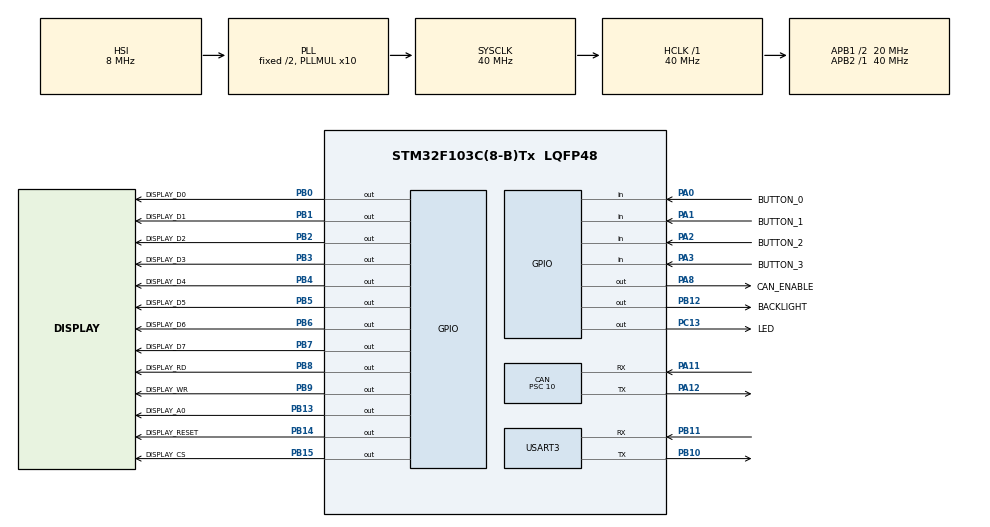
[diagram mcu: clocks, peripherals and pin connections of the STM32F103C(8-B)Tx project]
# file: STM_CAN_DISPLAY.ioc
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CAN.BS1=CAN_BS1_13TQ
CAN.BS2=CAN_BS2_2TQ
CAN.CalculateBaudRate=125000
CAN.CalculateTimeBit=8000
CAN.CalculateTimeQuantum=500.0
CAN.Mode=CAN_MODE_NORMAL
CAN.Prescaler=10
Dma.Request0=USART3_TX
Dma.USART3_TX.0.Direction=DMA_MEMORY_TO_PERIPH
Dma.USART3_TX.0.Instance=DMA1_Channel2
Dma.USART3_TX.0.MemDataAlignment=DMA_MDATAALIGN_BYTE
Dma.USART3_TX.0.MemInc=DMA_MINC_ENABLE
Dma.USART3_TX.0.Mode=DMA_NORMAL
Dma.USART3_TX.0.PeriphDataAlignment=DMA_PDATAALIGN_BYTE
Dma.USART3_TX.0.PeriphInc=DMA_PINC_DISABLE
Dma.USART3_TX.0.Priority=DMA_PRIORITY_LOW
Mcu.Family=STM32F1
Mcu.Name=STM32F103C(8-B)Tx
Mcu.Package=LQFP48
NVIC.CAN1_RX1_IRQn=true\:0\:0\:false\:false\:true\:true\:true\:true
NVIC.DMA1_Channel2_IRQn=true\:0\:0\:false\:false\:true\:false\:true\:true
NVIC.PriorityGroup=NVIC_PRIORITYGROUP_4
NVIC.TIM1_UP_IRQn=true\:0\:0\:false\:false\:true\:true\:true\:true
NVIC.TIM2_IRQn=true\:0\:0\:false\:false\:true\:true\:true\:true
NVIC.USART3_IRQn=true\:0\:0\:false\:false\:true\:true\:true\:true
NVIC.USB_HP_CAN1_TX_IRQn=true\:0\:0\:false\:false\:true\:true\:true\:true
NVIC.USB_LP_CAN1_RX0_IRQn=true\:0\:0\:false\:false\:true\:true\:true\:true
PA0-WKUP.GPIO_Label=BUTTON_0
PA0-WKUP.Signal=GPIO_Input
PA1.GPIO_Label=BUTTON_1
PA1.Signal=GPIO_Input
PA11.Mode=CAN_Activate
PA11.Signal=CAN_RX
PA12.Mode=CAN_Activate
PA12.Signal=CAN_TX
PA13.Mode=Serial_Wire
PA13.Signal=SYS_JTMS-SWDIO
PA14.Mode=Serial_Wire
PA14.Signal=SYS_JTCK-SWCLK
PA2.GPIO_Label=BUTTON_2
PA2.Signal=GPIO_Input
PA3.GPIO_Label=BUTTON_3
PA3.Signal=GPIO_Input
PA8.GPIO_Label=CAN_ENABLE
PA8.Signal=GPIO_Output
PB0.GPIO_Label=DISPLAY_D0
PB0.Signal=GPIO_Output
PB1.GPIO_Label=DISPLAY_D1
PB1.Signal=GPIO_Output
PB10.Mode=Asynchronous
PB10.Signal=USART3_TX
PB11.Mode=Asynchronous
PB11.Signal=USART3_RX
PB12.GPIO_Label=BACKLIGHT
PB12.Signal=GPIO_Output
PB13.GPIO_Label=DISPLAY_A0
PB13.Signal=GPIO_Output
PB14.GPIO_Label=DISPLAY_RESET
PB14.Signal=GPIO_Output
PB15.GPIO_Label=DISPLAY_CS
PB15.Signal=GPIO_Output
PB2.GPIO_Label=DISPLAY_D2
PB2.Signal=GPIO_Output
PB3.GPIO_Label=DISPLAY_D3
PB3.Signal=GPIO_Output
PB4.GPIO_Label=DISPLAY_D4
PB4.Signal=GPIO_Output
PB5.GPIO_Label=DISPLAY_D5
PB5.Signal=GPIO_Output
PB6.GPIO_Label=DISPLAY_D6
PB6.Signal=GPIO_Output
PB7.GPIO_Label=DISPLAY_D7
PB7.Signal=GPIO_Output
PB8.GPIO_Label=DISPLAY_RD
PB8.Signal=GPIO_Output
PB9.GPIO_Label=DISPLAY_WR
PB9.Signal=GPIO_Output
PC13-TAMPER-RTC.GPIO_Label=LED
PC13-TAMPER-RTC.GPIO_ModeDefaultOutputPP=GPIO_MODE_OUTPUT_PP
PC13-TAMPER-RTC.Signal=GPIO_Output
ProjectManager.HeapSize=0x200
ProjectManager.StackSize=0x1000
ProjectManager.TargetToolchain=Makefile
RCC.AHBFreq_Value=40000000
RCC.APB1CLKDivider=RCC_HCLK_DIV2
RCC.APB1Freq_Value=20000000
RCC.APB1TimFreq_Value=40000000
RCC.APB2Freq_Value=40000000
RCC.APB2TimFreq_Value=40000000
RCC.HCLKFreq_Value=40000000
RCC.PLLMUL=RCC_PLL_MUL10
RCC.SYSCLKFreq_VALUE=40000000
RCC.SYSCLKSource=RCC_SYSCLKSOURCE_PLLCLK
RCC.USBFreq_Value=40000000
TIM1.Period=1000
TIM1.Prescaler=40
TIM2.AutoReloadPreload=TIM_AUTORELOAD_PRELOAD_DISABLE
TIM2.Period=10
TIM2.Prescaler=40
USART3.VirtualMode=VM_ASYNC
VP_TIM1_VS_ClockSourceINT.Mode=Internal
VP_TIM2_VS_ClockSourceINT.Mode=Internal
board=custom

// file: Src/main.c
/* USER CODE BEGIN Header */
/**
  ******************************************************************************
  * @file           : main.c
  * @brief          : Main program body
  ******************************************************************************
  * @attention
  *
  * <h2><center>&copy; Copyright (c) 2019 STMicroelectronics.
  * All rights reserved.</center></h2>
  *
  * This software component is licensed by ST under BSD 3-Clause license,
  * the "License"; You may not use this file except in compliance with the
  * License. You may obtain a copy of the License at:
  *                        opensource.org/licenses/BSD-3-Clause
  *
  ******************************************************************************
  */
/* USER CODE END Header */
#include "main.h"

/* USER CODE BEGIN Includes */
#include <string.h>
#include "u8g2.h"
#include <stdio.h>

#include "display_prints.h"

/* USER CODE END Includes */

/* USER CODE BEGIN PD */

//#define BOILER_TEMP_CAN_ID 0x0d0
#define BOILER_TEMP_CAN_ID 0x0d0
//#define RELAY_CONTROL_CAN_ID 0x080
#define RELAY_CONTROL_CAN_ID 0x090
// #define RELAY_STATUS_CAN_ID 0x081
// #define RELAY_STATUS_CAN_ID 0x091
#define PUMP_STATUS_CAN_ID 0x091

/* USER CODE END PD */

CAN_HandleTypeDef hcan;

TIM_HandleTypeDef htim1;
TIM_HandleTypeDef htim2;

UART_HandleTypeDef huart3;
DMA_HandleTypeDef hdma_usart3_tx;

/* USER CODE BEGIN PV */
static u8g2_t u8g2;

volatile uint32_t testCounter = 0;
volatile uint32_t test_counter = 0;

#define BUTTON_DEBOUNCE_TIME 50
volatile uint16_t button_counter = 0;
volatile uint8_t button_status = 0;
volatile uint8_t global_button_status = 0;

struct display_screen1_data screen1_data;
struct display_screen1_error_message screen1_error_holder;

int32_t temperature;
uint32_t pressure;
uint32_t humidity;

volatile float input_packet_boiler_temperature = -127;
volatile uint8_t input_packet_boiler_temperature_err = 0;
volatile uint8_t input_packet_pump_status = 0xff;

volatile uint16_t input_packet_boiler_timeout = 0;

volatile uint8_t temperature1timeout = 0;
volatile uint8_t temperature2timeout = 0;
volatile uint8_t humidity1timeout = 0;
volatile uint8_t humidity2timeout = 0;

#define DATA_WAIT_TIMEOUT 3000

CAN_FilterTypeDef sFilterConfig;
CAN_TxHeaderTypeDef TxHeader;
CAN_RxHeaderTypeDef RxHeader;
uint8_t TxData[8];
uint8_t RxData[8];
uint32_t TxMailbox;

volatile uint16_t micro_delay_counter = 0;
/* USER CODE END PV */

void SystemClock_Config(void);
static void MX_GPIO_Init(void);
static void MX_DMA_Init(void);
static void MX_CAN_Init(void);
static void MX_TIM1_Init(void);
static void MX_USART3_UART_Init(void);
static void MX_TIM2_Init(void);
/* USER CODE BEGIN PFP */
void button_debounce();
void button_debounce() {
	uint8_t button_state = HAL_GPIO_ReadPin(BUTTON_0_GPIO_Port, BUTTON_0_Pin);

	if (button_status == 0) {
		if (button_state == RESET) {
			button_counter++;

			if (button_counter >= BUTTON_DEBOUNCE_TIME) {
				button_counter = 0;

				button_status = 1;

				global_button_status = 1;

				// callback paressdown
			}
		} else {
			button_counter = 0;
		}
	}

	if (button_status != 0) {
		if (button_state != RESET) {
			button_counter++;

			if (button_counter >= BUTTON_DEBOUNCE_TIME) {
				button_counter = 0;

				button_status = 0;

				// callback pressup
			}
		} else {
			button_counter = 0;
		}
	}
}

void display_update(void);

/* USER CODE END PFP */

/* USER CODE BEGIN 0 */

/*
  these below suspends warning but may be not good
  https://stackoverflow.com/questions/73742774/gcc-arm-none-eabi-11-3-is-not-implemented-and-will-always-fail
*/
/* suspends warning >>>> */
int _close(int file) { return -1; }
void _lseek(void) {}
void _read(void) {}
int _fstat_r(void) { return -1; }
int _getpid_r(void) { return -1; }
int _isatty_r(void) { return -1; }
int _kill_r(/* struct _reent */ void  *ptr, int pid, int sig) { return -1; }
// int _write(int file, char *ptr, int len) {
//   int todo;
//   for (todo = 0; todo < len; todo++) {
//     // outbyte (*ptr++);
//   }
//   return len;
// }

/* suspends warning <<<< */

int _write(int file, char *ptr, int len)
{
  // HAL_UART_Transmit(&huart3, (uint8_t *)ptr, len, HAL_MAX_DELAY);
  HAL_UART_Transmit_DMA(&huart3, (uint8_t *)ptr, len);
  uint32_t tickstart = 0U;
  tickstart = HAL_GetTick();

  while (HAL_UART_GetState(&huart3) != HAL_UART_STATE_READY)
  {
    if ((HAL_GetTick() - tickstart) > 500)
    {
      // return OW_TIMEOUT;
      return 0;
    }
  }
  return len;
}

/* ******************************************************************************* */
void user_delay_ms(uint32_t period);

void user_delay_ms(uint32_t period)
{
	HAL_Delay(period);
    /*
     * Return control or wait,
     * for a period amount of milliseconds
     */
}

void send_8080_data_delay_100u(uint16_t delay) {
//	HAL_Delay(1);
	micro_delay_counter = delay+1;
	while(micro_delay_counter > 0) {
	}
}

void send_8080_data(uint8_t arg_int, void *arg_ptr) {
	uint8_t quantity = arg_int;
	uint8_t * data_buffer = arg_ptr;
	for (uint8_t i = 0; i < quantity; i++) {
		uint8_t byte = data_buffer[i];

		HAL_GPIO_WritePin(DISPLAY_D0_GPIO_Port, DISPLAY_D0_Pin, byte & 0x01);
		HAL_GPIO_WritePin(DISPLAY_D1_GPIO_Port, DISPLAY_D1_Pin, byte & 0x02);
		HAL_GPIO_WritePin(DISPLAY_D2_GPIO_Port, DISPLAY_D2_Pin, byte & 0x04);
		HAL_GPIO_WritePin(DISPLAY_D3_GPIO_Port, DISPLAY_D3_Pin, byte & 0x08);

		HAL_GPIO_WritePin(DISPLAY_D4_GPIO_Port, DISPLAY_D4_Pin, byte & 0x10);
		HAL_GPIO_WritePin(DISPLAY_D5_GPIO_Port, DISPLAY_D5_Pin, byte & 0x20);
		HAL_GPIO_WritePin(DISPLAY_D6_GPIO_Port, DISPLAY_D6_Pin, byte & 0x40);
		HAL_GPIO_WritePin(DISPLAY_D7_GPIO_Port, DISPLAY_D7_Pin, byte & 0x80);

		HAL_GPIO_WritePin(DISPLAY_WR_GPIO_Port, DISPLAY_WR_Pin, GPIO_PIN_RESET);

		send_8080_data_delay_100u(1);
		HAL_GPIO_WritePin(DISPLAY_WR_GPIO_Port, DISPLAY_WR_Pin, GPIO_PIN_SET);
		send_8080_data_delay_100u(1);
	}
}

uint8_t u8x8_byte_8080(u8x8_t *u8x8, uint8_t msg, uint8_t arg_int, void *arg_ptr)
{
  switch(msg)
  {
    case U8X8_MSG_BYTE_SEND:
    	send_8080_data(arg_int, arg_ptr);

      break;
    case U8X8_MSG_BYTE_INIT:
      break;
    case U8X8_MSG_BYTE_SET_DC:
    	HAL_GPIO_WritePin(DISPLAY_A0_GPIO_Port, DISPLAY_A0_Pin, arg_int);

      break;
    case U8X8_MSG_BYTE_START_TRANSFER:
    	HAL_GPIO_WritePin(DISPLAY_CS_GPIO_Port, DISPLAY_CS_Pin, GPIO_PIN_RESET);

      break;
    case U8X8_MSG_BYTE_END_TRANSFER:
    	HAL_GPIO_WritePin(DISPLAY_CS_GPIO_Port, DISPLAY_CS_Pin, GPIO_PIN_SET);

      break;
    default:
      return 0;
  }
  return 1;
}

uint8_t u8x8_gpio_and_delay_8080(u8x8_t *u8x8, uint8_t msg, uint8_t arg_int, void *arg_ptr)
{
  switch(msg)
  {
    case U8X8_MSG_GPIO_AND_DELAY_INIT:	// called once during init phase of u8g2/u8x8
    	  HAL_GPIO_WritePin(DISPLAY_RD_GPIO_Port, DISPLAY_RD_Pin, GPIO_PIN_SET);
    	  HAL_GPIO_WritePin(DISPLAY_CS_GPIO_Port, DISPLAY_CS_Pin, GPIO_PIN_SET);
    	  HAL_Delay(1);

    	break;							// can be used to setup pins
    case U8X8_MSG_DELAY_NANO:			// delay arg_int * 1 nano second
      break;
    case U8X8_MSG_DELAY_100NANO:		// delay arg_int * 100 nano seconds
      break;
    case U8X8_MSG_DELAY_10MICRO:		// delay arg_int * 10 micro seconds
      break;
    case U8X8_MSG_DELAY_MILLI:			// delay arg_int * 1 milli second
    	HAL_Delay(arg_int);

    	break;
    case U8X8_MSG_DELAY_I2C:				// arg_int is the I2C speed in 100KHz, e.g. 4 = 400 KHz
      break;							// arg_int=1: delay by 5us, arg_int = 4: delay by 1.25us
    case U8X8_MSG_GPIO_D0:				// D0 or SPI clock pin: Output level in arg_int
    	HAL_GPIO_WritePin(DISPLAY_D0_GPIO_Port, DISPLAY_D0_Pin, arg_int);

    	break;
    case U8X8_MSG_GPIO_D1:				// D1 or SPI data pin: Output level in arg_int
    	HAL_GPIO_WritePin(DISPLAY_D1_GPIO_Port, DISPLAY_D1_Pin, arg_int);

    //case U8X8_MSG_GPIO_SPI_DATA:
      break;
    case U8X8_MSG_GPIO_D2:				// D2 pin: Output level in arg_int
    	HAL_GPIO_WritePin(DISPLAY_D2_GPIO_Port, DISPLAY_D2_Pin, arg_int);

      break;
    case U8X8_MSG_GPIO_D3:				// D3 pin: Output level in arg_int
    	HAL_GPIO_WritePin(DISPLAY_D3_GPIO_Port, DISPLAY_D3_Pin, arg_int);

      break;
    case U8X8_MSG_GPIO_D4:				// D4 pin: Output level in arg_int
    	HAL_GPIO_WritePin(DISPLAY_D4_GPIO_Port, DISPLAY_D4_Pin, arg_int);

      break;
    case U8X8_MSG_GPIO_D5:				// D5 pin: Output level in arg_int
    	HAL_GPIO_WritePin(DISPLAY_D5_GPIO_Port, DISPLAY_D5_Pin, arg_int);

    	break;
    case U8X8_MSG_GPIO_D6:				// D6 pin: Output level in arg_int
    	HAL_GPIO_WritePin(DISPLAY_D6_GPIO_Port, DISPLAY_D6_Pin, arg_int);

      break;
    case U8X8_MSG_GPIO_D7:				// D7 pin: Output level in arg_int
    	HAL_GPIO_WritePin(DISPLAY_D7_GPIO_Port, DISPLAY_D7_Pin, arg_int);

      break;
    case U8X8_MSG_GPIO_E:				// E/WR pin: Output level in arg_int
    	HAL_GPIO_WritePin(DISPLAY_WR_GPIO_Port, DISPLAY_WR_Pin, arg_int);

      break;
    case U8X8_MSG_GPIO_CS:				// CS (chip select) pin: Output level in arg_int
    	HAL_GPIO_WritePin(DISPLAY_CS_GPIO_Port, DISPLAY_CS_Pin, arg_int);

      break;
    case U8X8_MSG_GPIO_DC:				// DC (data/cmd, A0, register select) pin: Output level in arg_int
    	HAL_GPIO_WritePin(DISPLAY_A0_GPIO_Port, DISPLAY_A0_Pin, arg_int);

    	break;
    case U8X8_MSG_GPIO_RESET:			// Reset pin: Output level in arg_int
    	HAL_GPIO_WritePin(DISPLAY_RESET_GPIO_Port, DISPLAY_RESET_Pin, arg_int);

    	break;
    case U8X8_MSG_GPIO_CS1:				// CS1 (chip select) pin: Output level in arg_int
      break;
    case U8X8_MSG_GPIO_CS2:				// CS2 (chip select) pin: Output level in arg_int
      break;
    case U8X8_MSG_GPIO_I2C_CLOCK:		// arg_int=0: Output low at I2C clock pin
      break;							// arg_int=1: Input dir with pullup high for I2C clock pin
    case U8X8_MSG_GPIO_I2C_DATA:			// arg_int=0: Output low at I2C data pin
      break;							// arg_int=1: Input dir with pullup high for I2C data pin
    case U8X8_MSG_GPIO_MENU_SELECT:
//      u8x8_SetGPIOResult(u8x8, /* get menu select pin state */ 0);
      break;
    case U8X8_MSG_GPIO_MENU_NEXT:
//      u8x8_SetGPIOResult(u8x8, /* get menu next pin state */ 0);
      break;
    case U8X8_MSG_GPIO_MENU_PREV:
//      u8x8_SetGPIOResult(u8x8, /* get menu prev pin state */ 0);
      break;
    case U8X8_MSG_GPIO_MENU_HOME:
//      u8x8_SetGPIOResult(u8x8, /* get menu home pin state */ 0);
      break;
    default:
//      u8x8_SetGPIOResult(u8x8, 1);			// default return value
      break;
  }
  return 1;
}

//uint8_t u8x8_stm32_gpio_and_delay(U8X8_UNUSED u8x8_t *u8x8,
//    U8X8_UNUSED uint8_t msg, U8X8_UNUSED uint8_t arg_int,
//    U8X8_UNUSED void *arg_ptr)
//{
//  switch (msg)
//  {
//  case U8X8_MSG_GPIO_AND_DELAY_INIT:
//    HAL_Delay(1);
//    break;
//  case U8X8_MSG_DELAY_MILLI:
//    HAL_Delay(arg_int);
//    break;
//  case U8X8_MSG_GPIO_DC:
////    HAL_GPIO_WritePin(DISPLAY_DC_GPIO_Port, DISPLAY_DC_Pin, arg_int);
//    HAL_GPIO_WritePin(DISPLAY_A0_GPIO_Port, DISPLAY_A0_Pin, arg_int);
//    break;
//  case U8X8_MSG_GPIO_RESET:
//    HAL_GPIO_WritePin(DISPLAY_RESET_GPIO_Port, DISPLAY_RESET_Pin, arg_int);
//    break;
//  }
//  return 1;
//}
//
//uint8_t u8x8_byte_4wire_hw_spi(u8x8_t *u8x8, uint8_t msg, uint8_t arg_int,
//    void *arg_ptr)
//{
//  switch (msg)
//  {
//  case U8X8_MSG_BYTE_SEND:
//    HAL_SPI_Transmit(&hspi1, (uint8_t *) arg_ptr, arg_int, 10000);
//    break;
//  case U8X8_MSG_BYTE_INIT:
//    break;
//  case U8X8_MSG_BYTE_SET_DC:
//    HAL_GPIO_WritePin(DISPLAY_DC_GPIO_Port, DISPLAY_DC_Pin, arg_int);
//    break;
//  case U8X8_MSG_BYTE_START_TRANSFER:
//		HAL_GPIO_WritePin(CS1_DISPLAY_GPIO_Port, CS1_DISPLAY_Pin, GPIO_PIN_RESET);
//    break;
//  case U8X8_MSG_BYTE_END_TRANSFER:
//		HAL_GPIO_WritePin(CS1_DISPLAY_GPIO_Port, CS1_DISPLAY_Pin, GPIO_PIN_SET);
//    break;
//  default:
//    return 0;
//  }
//  return 1;
//}

void display_update(void) {

	int16_t tempInt;
	uint32_t tempUInt;
	int16_t tempDec;

	u8g2_SetFont(&u8g2, u8g2_font_logisoso18_tr );

	char tmp_string[100];
	u8g2_FirstPage(&u8g2);
	do
	 {

		////// boiler temp
		if(input_packet_boiler_timeout == DATA_WAIT_TIMEOUT){
			sprintf(tmp_string, "B xxx");
		}else{
//			tempInt = (int16_t)(input_packet_boiler_temperature);
//			tempDec = (uint16_t)(input_packet_boiler_temperature%1);
			sprintf(tmp_string, "B %.2f", input_packet_boiler_temperature);
		}
		u8g2_DrawStr(&u8g2, 0, 20, tmp_string);

		//////t1
		if(temperature1timeout == DATA_WAIT_TIMEOUT){
			sprintf(tmp_string, "T xxx");
		}else{
			tempInt = (int16_t)(temperature/100);
			tempDec = (uint16_t)(temperature%100);
			sprintf(tmp_string, "T %d,%u", tempInt, tempDec);
		}
		u8g2_DrawStr(&u8g2, 0, 45, tmp_string);

		//////h1
		if(humidity1timeout == DATA_WAIT_TIMEOUT){
			sprintf(tmp_string, "H xxx");
		}else{
			tempUInt = (uint32_t)(humidity/1024);
			tempDec = (uint16_t)(humidity%1024);
			sprintf(tmp_string, "H %lu,%u", tempUInt, tempDec);
			printf(tmp_string);
		}
		u8g2_DrawStr(&u8g2, 0, 70, tmp_string);

		//////t2
		if(temperature2timeout == DATA_WAIT_TIMEOUT){
			sprintf(tmp_string, "T xxx");
		}else{
			tempInt = (int16_t)(temperature/100);
			tempDec = (uint16_t)(temperature%100);
			sprintf(tmp_string, "T %u,%u", tempInt, tempDec);
		}
		u8g2_DrawStr(&u8g2, 0, 100, tmp_string);

		//////h2
		if(humidity2timeout == DATA_WAIT_TIMEOUT){
			sprintf(tmp_string, "H xxx");
		}else{
			tempUInt = (uint32_t)(humidity/1024);
			tempDec = (uint16_t)(humidity%1024);
		}
		u8g2_DrawStr(&u8g2, 0, 125, tmp_string);

	 } while (u8g2_NextPage(&u8g2));
}

/* USER CODE END 0 */

int main(void)
{

  /* MCU Configuration--------------------------------------------------------*/

  /* Reset of all peripherals, Initializes the Flash interface and the Systick. */
  HAL_Init();

  /* Configure the system clock */
  SystemClock_Config();

  /* Initialize all configured peripherals */
  MX_GPIO_Init();
  MX_DMA_Init();
  MX_CAN_Init();
  MX_TIM1_Init();
  MX_USART3_UART_Init();
  MX_TIM2_Init();
  /* USER CODE BEGIN 2 */

  /* off realays */

  sFilterConfig.FilterBank = 0;
  sFilterConfig.FilterMode = CAN_FILTERMODE_IDMASK;
  sFilterConfig.FilterScale = CAN_FILTERSCALE_32BIT;
  sFilterConfig.FilterIdHigh = 0x0000;
  sFilterConfig.FilterIdLow = 0x0000;
  sFilterConfig.FilterMaskIdHigh = 0x0000;
  sFilterConfig.FilterMaskIdLow = 0x0000;
  sFilterConfig.FilterFIFOAssignment = CAN_RX_FIFO0;
  sFilterConfig.FilterActivation = ENABLE;
  sFilterConfig.SlaveStartFilterBank = 14;
  if (HAL_CAN_ConfigFilter(&hcan, &sFilterConfig) != HAL_OK)
  {
	  /* Filter configuration Error */
	  Error_Handler();
  }

  if (HAL_CAN_Start(&hcan) != HAL_OK)
  {
	  /* Start Error */
	  Error_Handler();
  }

  if (HAL_CAN_ActivateNotification(&hcan, CAN_IT_RX_FIFO0_MSG_PENDING | CAN_IT_TX_MAILBOX_EMPTY) != HAL_OK)
  {
	  /* Notification Error */
	  Error_Handler();
  }

  TxHeader.StdId = BOILER_TEMP_CAN_ID;
  TxHeader.ExtId = 0x00;
  TxHeader.RTR = CAN_RTR_DATA;
  TxHeader.IDE = CAN_ID_STD;
  TxHeader.DLC = 4;
  TxHeader.TransmitGlobalTime = DISABLE;
  TxData[0] = 1;
  TxData[1] = 2;
  TxData[2] = 3;
  TxData[3] = 4;

  /* display init >> */

  HAL_TIM_Base_Start_IT(&htim1);
  HAL_TIM_Base_Start_IT(&htim2);

  /* turn on backlight */
  HAL_GPIO_WritePin(BACKLIGHT_GPIO_Port, BACKLIGHT_Pin, GPIO_PIN_SET);

  HAL_GPIO_WritePin(DISPLAY_RD_GPIO_Port, DISPLAY_RD_Pin, GPIO_PIN_SET);
  HAL_GPIO_WritePin(DISPLAY_CS_GPIO_Port, DISPLAY_CS_Pin, GPIO_PIN_SET);

  // --->>>

    u8g2_Setup_st7565_ea_dogm128_1(&u8g2, U8G2_R2, u8x8_byte_8080, u8x8_gpio_and_delay_8080);
//  u8g2_Setup_st7565_zolen_128x64_1(&u8g2, U8G2_R2, u8x8_byte_8080, u8x8_gpio_and_delay_8080);// bad and mirrored
//  u8g2_Setup_st7565_lx12864_1(&u8g2, U8G2_R2, u8x8_byte_8080, u8x8_gpio_and_delay_8080); //bad
//  u8g2_Setup_st7565_erc12864_1(&u8g2, U8G2_R2, u8x8_byte_8080, u8x8_gpio_and_delay_8080);// not good and white
//  u8g2_Setup_st7565_erc12864_alt_1(&u8g2, U8G2_R2, u8x8_byte_8080, u8x8_gpio_and_delay_8080); //bad
//  u8g2_Setup_st7565_nhd_c12864_1(&u8g2, U8G2_R2, u8x8_byte_8080, u8x8_gpio_and_delay_8080); //bad but in the right position
//  u8g2_Setup_st7565_jlx12864_1(&u8g2, U8G2_R2, u8x8_byte_8080, u8x8_gpio_and_delay_8080);//bad but in the right position

//  u8g2_Setup_st7565_ea_dogm128_1
//  /* default_x_offset = */ 0, fix -> to 4
//  /* flipmode_x_offset = */ 4, fix -> to 0

//  u8g2_Setup_st7565_nhd_c12864_1
  //  /* default_x_offset = */ 4,
  //  /* flipmode_x_offset = */ 0,

//  u8g2_Setup_ssd1306_128x64_noname_1(&u8g2,
//									 U8G2_R1,
//									 u8x8_byte_4wire_hw_spi,
//									 u8x8_stm32_gpio_and_delay);

    // ---<<<
  u8g2_InitDisplay(&u8g2);
  u8g2_SetPowerSave(&u8g2, 0);
  u8g2_SetContrast(&u8g2, 95);

  /* display init << */

	char tmp_string[20];

	memset(tmp_string, 0, 20);

  u8g2_FirstPage(&u8g2);
  do
  {
    u8g2_SetFont(&u8g2, u8g2_font_luBS08_tf);
    //	    u8g2_font_luRS08_tf
    //	    u8g2_font_ncenB14_tr
    u8g2_DrawStr(&u8g2, 0, 14, "Hello world 1");
  } while (u8g2_NextPage(&u8g2));

  HAL_GPIO_WritePin(CAN_ENABLE_GPIO_Port, CAN_ENABLE_Pin, GPIO_PIN_RESET);

  /* USER CODE END 2 */

  /* Infinite loop */
  while (1)
  {

    /* USER CODE BEGIN 3 */

	  if (global_button_status != 0) {
		  global_button_status = 0;

      // HAL_GPIO_TogglePin(BACKLIGHT_GPIO_Port, BACKLIGHT_Pin, GPIO_PIN_SET);
      HAL_GPIO_TogglePin(BACKLIGHT_GPIO_Port, BACKLIGHT_Pin);

		  // HAL_GPIO_TogglePin(GPIOC, LED_Pin);
	  }

//	  HAL_Delay(2000);
//	  send_8080_data_delay_100u(50000);
//	  struct bme280_data comp_data;
//	  rslt = bme280_get_sensor_data(BME280_ALL, &comp_data, &dev);
//      sprintf(tmp_string, "%ld, %ld, %ld\r\n",comp_data.temperature, comp_data.pressure, comp_data.humidity);

	  HAL_Delay(100);
//	    HAL_GPIO_TogglePin(RELAY0_GPIO_Port, RELAY0_Pin);
//	    HAL_GPIO_TogglePin(GPIOB, DISPLAY_RESET_Pin);

	  testCounter++;
	  memset(tmp_string, 0, 20);

//
//	  u8g2_FirstPage(&u8g2);
//	  do
//	 {
////		u8g2_font_luRS08_tf
////		u8g2_font_luBS08_tf
////		u8g2_font_luIS08_tf
//		  sprintf(tmp_string, "testCounter:%lu", (uint32_t)testCounter);
//		  u8g2_SetFont(&u8g2, u8g2_font_luBS08_tf);
//		  u8g2_DrawStr(&u8g2, 0, 10, tmp_string);
//
//		  u8g2_SetFont(&u8g2, u8g2_font_luRS08_tf);
//
////		  u8g2_font_5x7_tf
////		  u8g2_SetFont(&u8g2, u8g2_font_5x7_tf);
//		  u8g2_SetFont(&u8g2, u8g2_font_courR08_tf);
//
//		  sprintf(tmp_string, "temp:%lu%sC", testCounter,"\xb0");
//		  u8g2_DrawStr(&u8g2, 0, 24, tmp_string);
////		  u8g2_get("\xb0");
//		  sprintf(tmp_string, "hm:%lu", testCounter);
//		  u8g2_DrawStr(&u8g2, 0, 40, tmp_string);
//	 } while (u8g2_NextPage(&u8g2));
//
//

//	    HAL_GPIO_TogglePin(GPIOC, LED_Pin);
	  	//  printf("OK2!\r\n");
//	  display_update();

		if(input_packet_boiler_timeout >= DATA_WAIT_TIMEOUT){
       sprintf(screen1_data.str_boiler_value, "%3ld.%d", (int32_t)-127, 0); // Print as two integers
       sprintf(screen1_data.str_boiler_error, "0x%x", 0xff); // Print as two integers
    } else {
       float value = input_packet_boiler_temperature;
       int32_t value_int = (int32_t)(value * 1000) / 1000;                             // Convert to an integer with 3 decimal places preserved
      //  int32_t value_dec = (int32_t)((value % (float)(int16_t)value) * 10);                             // Convert to an integer with 3 decimal places preserved
      //  sprintf(screen1_data.str_boiler_value, "%3d.%1d", value_int, value_int % 1000); // Print as two integers
      //  float integral;
      //  float fractional = modf(value, &integral) * 10;

       int intpart = (int)value;
       float decpart = value - intpart;
       uint8_t value_dec = (uint8_t)(decpart * 10);
       sprintf(screen1_data.str_boiler_value, "%3ld.%d", value_int, value_dec); // Print as two integers
       sprintf(screen1_data.str_boiler_error, "0x%x", input_packet_boiler_temperature_err); // Print as two integers

    }
       // sprintf(tmp_string, "B %.2f", input_packet_boiler_temperature);

       // sprintf(screen1_data.str_boiler_value, "ddd1");

      //  sprintf(screen1_data.str_tempreture_value_1, "ddd2");
      //  sprintf(screen1_data.str_humidity_value_1, "ddd3");

      //  sprintf(screen1_data.str_tempreture_value_2, "ddd4");
      //  sprintf(screen1_data.str_humidity_value_2, "ddd5");

      //  sprintf(screen1_data.str_pump_status_1, "0x%x", input_packet_pump_status);
      //  sprintf(screen1_data.str_pump_status_2, "ddd7");

      if (input_packet_pump_status == 0xff)
      {
        sprintf(screen1_data.str_pump_1_status, " Error    0x%x", input_packet_pump_status);
      }
      else if (input_packet_pump_status > 0)
      {
        sprintf(screen1_data.str_pump_1_status, " ON       0x%x", input_packet_pump_status);
      }
      else
      {
        sprintf(screen1_data.str_pump_1_status, " OFF      0x%x", input_packet_pump_status);
      }

      // sprintf(screen1_error_holder.str_error, "0x%x", input_packet_boiler_temperature_err);

      // sprintf(screen1_error_holder.str_error, "0x%x", input_packet_pump_status);
       	  // sprintf(screen1_error_holder.str_error, "test error");
       //	  sprintf(screen1_error_holder.str_error, "test error");
       //	  screen1_error_holder.error_flag = ERROR_FLAG_ON;

       display_update2(&u8g2, &screen1_data, &screen1_error_holder);
  }
  /* USER CODE END 3 */
}

void SystemClock_Config(void)
{
  RCC_OscInitTypeDef RCC_OscInitStruct = {0};
  RCC_ClkInitTypeDef RCC_ClkInitStruct = {0};

  /** Initializes the RCC Oscillators according to the specified parameters
  * in the RCC_OscInitTypeDef structure.
  */
  RCC_OscInitStruct.OscillatorType = RCC_OSCILLATORTYPE_HSI;
  RCC_OscInitStruct.HSIState = RCC_HSI_ON;
  RCC_OscInitStruct.HSICalibrationValue = RCC_HSICALIBRATION_DEFAULT;
  RCC_OscInitStruct.PLL.PLLState = RCC_PLL_ON;
  RCC_OscInitStruct.PLL.PLLSource = RCC_PLLSOURCE_HSI_DIV2;
  RCC_OscInitStruct.PLL.PLLMUL = RCC_PLL_MUL10;
  if (HAL_RCC_OscConfig(&RCC_OscInitStruct) != HAL_OK)
  {
    Error_Handler();
  }

  /** Initializes the CPU, AHB and APB buses clocks
  */
  RCC_ClkInitStruct.ClockType = RCC_CLOCKTYPE_HCLK|RCC_CLOCKTYPE_SYSCLK
                              |RCC_CLOCKTYPE_PCLK1|RCC_CLOCKTYPE_PCLK2;
  RCC_ClkInitStruct.SYSCLKSource = RCC_SYSCLKSOURCE_PLLCLK;
  RCC_ClkInitStruct.AHBCLKDivider = RCC_SYSCLK_DIV1;
  RCC_ClkInitStruct.APB1CLKDivider = RCC_HCLK_DIV2;
  RCC_ClkInitStruct.APB2CLKDivider = RCC_HCLK_DIV1;

  if (HAL_RCC_ClockConfig(&RCC_ClkInitStruct, FLASH_LATENCY_1) != HAL_OK)
  {
    Error_Handler();
  }
}

static void MX_CAN_Init(void)
{

  hcan.Instance = CAN1;
  hcan.Init.Prescaler = 10;
  hcan.Init.Mode = CAN_MODE_NORMAL;
  hcan.Init.SyncJumpWidth = CAN_SJW_1TQ;
  hcan.Init.TimeSeg1 = CAN_BS1_13TQ;
  hcan.Init.TimeSeg2 = CAN_BS2_2TQ;
  hcan.Init.TimeTriggeredMode = DISABLE;
  hcan.Init.AutoBusOff = DISABLE;
  hcan.Init.AutoWakeUp = DISABLE;
  hcan.Init.AutoRetransmission = DISABLE;
  hcan.Init.ReceiveFifoLocked = DISABLE;
  hcan.Init.TransmitFifoPriority = DISABLE;
  if (HAL_CAN_Init(&hcan) != HAL_OK)
  {
    Error_Handler();
  }

}

static void MX_TIM1_Init(void)
{

  TIM_ClockConfigTypeDef sClockSourceConfig = {0};
  TIM_MasterConfigTypeDef sMasterConfig = {0};

  htim1.Instance = TIM1;
  htim1.Init.Prescaler = 40;
  htim1.Init.CounterMode = TIM_COUNTERMODE_UP;
  htim1.Init.Period = 1000;
  htim1.Init.ClockDivision = TIM_CLOCKDIVISION_DIV1;
  htim1.Init.RepetitionCounter = 0;
  htim1.Init.AutoReloadPreload = TIM_AUTORELOAD_PRELOAD_DISABLE;
  if (HAL_TIM_Base_Init(&htim1) != HAL_OK)
  {
    Error_Handler();
  }
  sClockSourceConfig.ClockSource = TIM_CLOCKSOURCE_INTERNAL;
  if (HAL_TIM_ConfigClockSource(&htim1, &sClockSourceConfig) != HAL_OK)
  {
    Error_Handler();
  }
  sMasterConfig.MasterOutputTrigger = TIM_TRGO_RESET;
  sMasterConfig.MasterSlaveMode = TIM_MASTERSLAVEMODE_DISABLE;
  if (HAL_TIMEx_MasterConfigSynchronization(&htim1, &sMasterConfig) != HAL_OK)
  {
    Error_Handler();
  }

}

static void MX_TIM2_Init(void)
{

  TIM_ClockConfigTypeDef sClockSourceConfig = {0};
  TIM_MasterConfigTypeDef sMasterConfig = {0};

  htim2.Instance = TIM2;
  htim2.Init.Prescaler = 40;
  htim2.Init.CounterMode = TIM_COUNTERMODE_UP;
  htim2.Init.Period = 10;
  htim2.Init.ClockDivision = TIM_CLOCKDIVISION_DIV1;
  htim2.Init.AutoReloadPreload = TIM_AUTORELOAD_PRELOAD_DISABLE;
  if (HAL_TIM_Base_Init(&htim2) != HAL_OK)
  {
    Error_Handler();
  }
  sClockSourceConfig.ClockSource = TIM_CLOCKSOURCE_INTERNAL;
  if (HAL_TIM_ConfigClockSource(&htim2, &sClockSourceConfig) != HAL_OK)
  {
    Error_Handler();
  }
  sMasterConfig.MasterOutputTrigger = TIM_TRGO_RESET;
  sMasterConfig.MasterSlaveMode = TIM_MASTERSLAVEMODE_DISABLE;
  if (HAL_TIMEx_MasterConfigSynchronization(&htim2, &sMasterConfig) != HAL_OK)
  {
    Error_Handler();
  }

}

static void MX_USART3_UART_Init(void)
{

  huart3.Instance = USART3;
  huart3.Init.BaudRate = 115200;
  huart3.Init.WordLength = UART_WORDLENGTH_8B;
  huart3.Init.StopBits = UART_STOPBITS_1;
  huart3.Init.Parity = UART_PARITY_NONE;
  huart3.Init.Mode = UART_MODE_TX_RX;
  huart3.Init.HwFlowCtl = UART_HWCONTROL_NONE;
  huart3.Init.OverSampling = UART_OVERSAMPLING_16;
  if (HAL_UART_Init(&huart3) != HAL_OK)
  {
    Error_Handler();
  }

}

static void MX_DMA_Init(void)
{

  /* DMA controller clock enable */
  __HAL_RCC_DMA1_CLK_ENABLE();

  /* DMA interrupt init */
  /* DMA1_Channel2_IRQn interrupt configuration */
  HAL_NVIC_SetPriority(DMA1_Channel2_IRQn, 0, 0);
  HAL_NVIC_EnableIRQ(DMA1_Channel2_IRQn);

}

static void MX_GPIO_Init(void)
{
  GPIO_InitTypeDef GPIO_InitStruct = {0};

  /* GPIO Ports Clock Enable */
  __HAL_RCC_GPIOC_CLK_ENABLE();
  __HAL_RCC_GPIOA_CLK_ENABLE();
  __HAL_RCC_GPIOB_CLK_ENABLE();

  /*Configure GPIO pin Output Level */
  HAL_GPIO_WritePin(LED_GPIO_Port, LED_Pin, GPIO_PIN_RESET);

  /*Configure GPIO pin Output Level */
  HAL_GPIO_WritePin(GPIOB, DISPLAY_D0_Pin|DISPLAY_D1_Pin|DISPLAY_D2_Pin|BACKLIGHT_Pin
                          |DISPLAY_A0_Pin|DISPLAY_RESET_Pin|DISPLAY_CS_Pin|DISPLAY_D3_Pin
                          |DISPLAY_D4_Pin|DISPLAY_D5_Pin|DISPLAY_D6_Pin|DISPLAY_D7_Pin
                          |DISPLAY_RD_Pin|DISPLAY_WR_Pin, GPIO_PIN_RESET);

  /*Configure GPIO pin Output Level */
  HAL_GPIO_WritePin(CAN_ENABLE_GPIO_Port, CAN_ENABLE_Pin, GPIO_PIN_RESET);

  /*Configure GPIO pin : LED_Pin */
  GPIO_InitStruct.Pin = LED_Pin;
  GPIO_InitStruct.Mode = GPIO_MODE_OUTPUT_PP;
  GPIO_InitStruct.Pull = GPIO_NOPULL;
  GPIO_InitStruct.Speed = GPIO_SPEED_FREQ_LOW;
  HAL_GPIO_Init(LED_GPIO_Port, &GPIO_InitStruct);

  /*Configure GPIO pins : BUTTON_0_Pin BUTTON_1_Pin BUTTON_2_Pin BUTTON_3_Pin */
  GPIO_InitStruct.Pin = BUTTON_0_Pin|BUTTON_1_Pin|BUTTON_2_Pin|BUTTON_3_Pin;
  GPIO_InitStruct.Mode = GPIO_MODE_INPUT;
  GPIO_InitStruct.Pull = GPIO_NOPULL;
  HAL_GPIO_Init(GPIOA, &GPIO_InitStruct);

  /*Configure GPIO pins : DISPLAY_D0_Pin DISPLAY_D1_Pin DISPLAY_D2_Pin BACKLIGHT_Pin
                           DISPLAY_A0_Pin DISPLAY_RESET_Pin DISPLAY_CS_Pin DISPLAY_D3_Pin
                           DISPLAY_D4_Pin DISPLAY_D5_Pin DISPLAY_D6_Pin DISPLAY_D7_Pin
                           DISPLAY_RD_Pin DISPLAY_WR_Pin */
  GPIO_InitStruct.Pin = DISPLAY_D0_Pin|DISPLAY_D1_Pin|DISPLAY_D2_Pin|BACKLIGHT_Pin
                          |DISPLAY_A0_Pin|DISPLAY_RESET_Pin|DISPLAY_CS_Pin|DISPLAY_D3_Pin
                          |DISPLAY_D4_Pin|DISPLAY_D5_Pin|DISPLAY_D6_Pin|DISPLAY_D7_Pin
                          |DISPLAY_RD_Pin|DISPLAY_WR_Pin;
  GPIO_InitStruct.Mode = GPIO_MODE_OUTPUT_PP;
  GPIO_InitStruct.Pull = GPIO_NOPULL;
  GPIO_InitStruct.Speed = GPIO_SPEED_FREQ_LOW;
  HAL_GPIO_Init(GPIOB, &GPIO_InitStruct);

  /*Configure GPIO pin : CAN_ENABLE_Pin */
  GPIO_InitStruct.Pin = CAN_ENABLE_Pin;
  GPIO_InitStruct.Mode = GPIO_MODE_OUTPUT_PP;
  GPIO_InitStruct.Pull = GPIO_NOPULL;
  GPIO_InitStruct.Speed = GPIO_SPEED_FREQ_LOW;
  HAL_GPIO_Init(CAN_ENABLE_GPIO_Port, &GPIO_InitStruct);

}

/* USER CODE BEGIN 4 */
void HAL_CAN_TxMailbox0CompleteCallback(CAN_HandleTypeDef *hcan_)
{
//	HAL_GPIO_TogglePin(GPIOC, LED_Pin);
}

void HAL_CAN_RxFifo0MsgPendingCallback(CAN_HandleTypeDef *hcan_)
{
	HAL_CAN_GetRxMessage(&hcan, CAN_RX_FIFO0, &RxHeader, RxData);
//	HAL_GPIO_TogglePin(GPIOC, LED_Pin);

	 uint32_t u;
	  u = RxData[0];
	  u += (uint32_t)(RxData[1] << 8);
	  u += (uint32_t)(RxData[2] << 16);
	  u += (uint32_t)(RxData[3] << 24);

	if(RxHeader.StdId == 0xf0){
		pressure = u;
	} else if(RxHeader.StdId == 0xf0+1){
		temperature = u;
		temperature1timeout = 0;
		temperature2timeout = 0;
	} else if(RxHeader.StdId == 0xf0+2){
		humidity = u;
		humidity1timeout = 0;
		humidity2timeout = 0;
	} else if(RxHeader.StdId == RELAY_CONTROL_CAN_ID){
//		Control_peripheral_relays(RxData[0]);
	} else if(RxHeader.StdId == BOILER_TEMP_CAN_ID){
		// input_packet_boiler_temperature = u;
		// uint8_t boiler_temperature_errors = RxData[0];

		input_packet_boiler_temperature_err = RxData[0];
		for (int i=0; i<4 ;++i) {
			((uint8_t*)&input_packet_boiler_temperature)[i] = RxData[i+1];
		}
		input_packet_boiler_timeout = 0;

	} else if(RxHeader.StdId == PUMP_STATUS_CAN_ID){
    input_packet_pump_status = RxData[0];
  }
}

void HAL_TIM_PeriodElapsedCallback(TIM_HandleTypeDef *htim)
{
  if( htim->Instance == TIM1 ){
//	HAL_GPIO_TogglePin(GPIOC, LED_Pin);
//	++temperature1timeout;
//	++temperature2timeout;
//	++humidity1timeout;
//	++humidity2timeout;
	input_packet_boiler_timeout++;
//
//	if(temperature1timeout>= DATA_WAIT_TIMEOUT){
//		temperature1timeout = DATA_WAIT_TIMEOUT;
//	}
//
//	if(temperature2timeout>= DATA_WAIT_TIMEOUT){
//		temperature2timeout = DATA_WAIT_TIMEOUT;
//	}
//
//	if(humidity1timeout>= DATA_WAIT_TIMEOUT){
//		humidity1timeout = DATA_WAIT_TIMEOUT;
//	}
//
//	if(humidity2timeout>= DATA_WAIT_TIMEOUT){
//		humidity2timeout = DATA_WAIT_TIMEOUT;
//	}
//
	if(input_packet_boiler_timeout>= DATA_WAIT_TIMEOUT){
		input_packet_boiler_timeout = DATA_WAIT_TIMEOUT;
	}

	  button_debounce();

	  test_counter++;
	  if (test_counter >= 1000) {
		  test_counter = 0;
		  // HAL_GPIO_TogglePin(GPIOC, LED_Pin);
	  }
 } else if ( htim->Instance == TIM2 ) {
	 if (micro_delay_counter > 0 ) {
		 micro_delay_counter--;
	 }
 }
}
/* USER CODE END 4 */

void Error_Handler(void)
{
}
